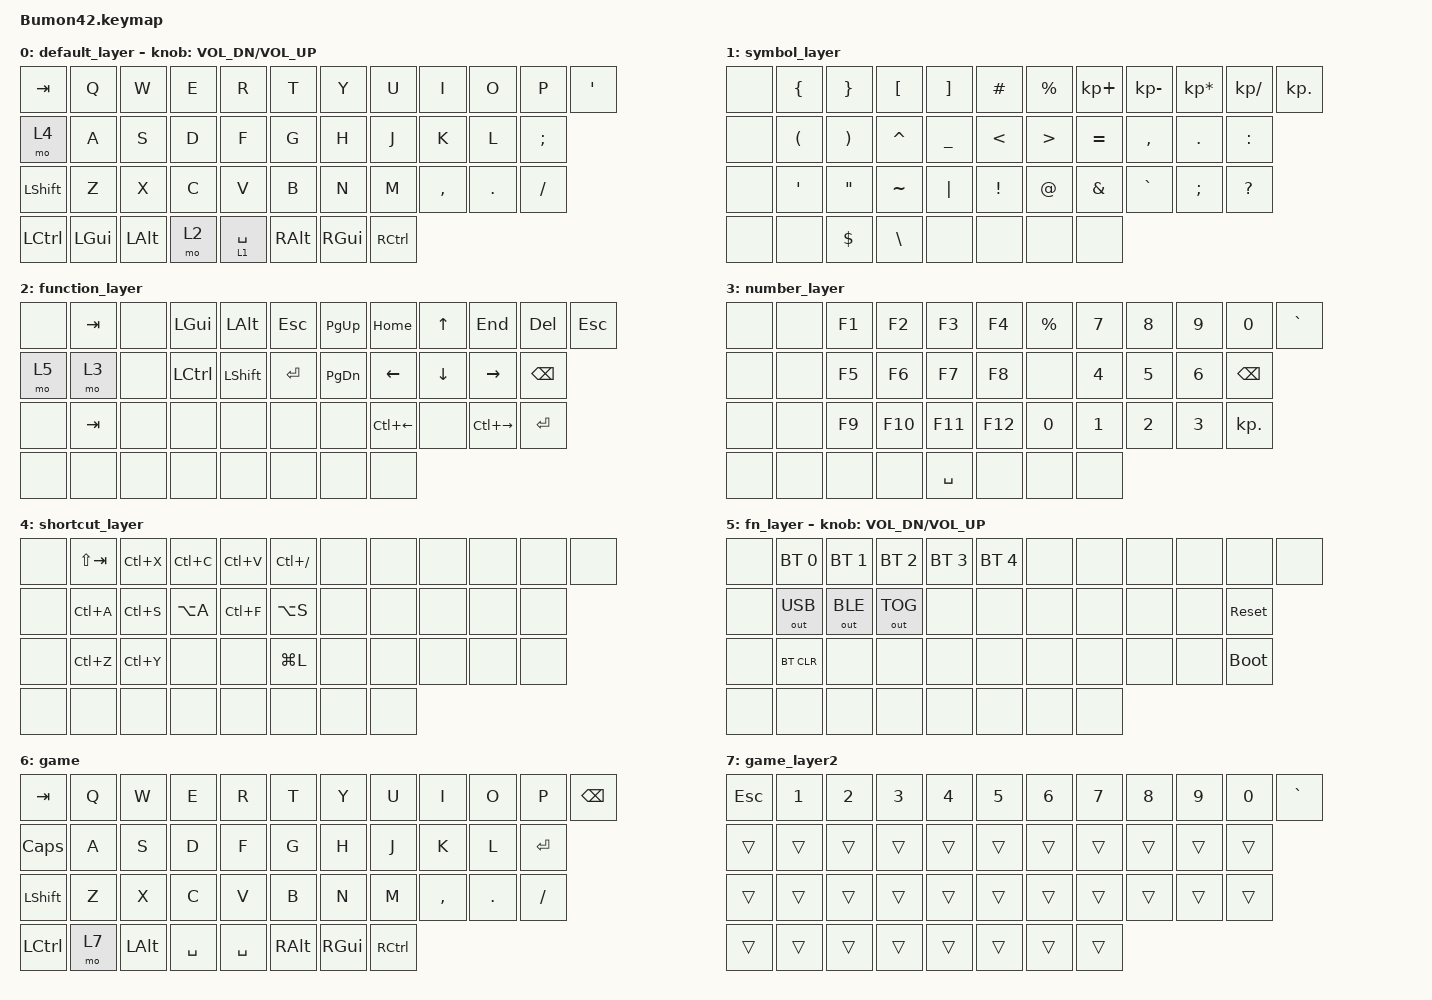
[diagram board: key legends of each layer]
#include <behaviors.dtsi>
#include <dt-bindings/zmk/bt.h>
#include <dt-bindings/zmk/keys.h>
#include <dt-bindings/zmk/outputs.h>

// changed lwr and rse

#define DEF 0
#define GAM 1
#define RSE 2
#define LWR 3
#define ADJ 4
#define FN  5

/ {
    behaviors {
        instant_layertap: instant_layertap {
            compatible = "zmk,behavior-hold-tap";
            label = "INSTANT_LAYERTAP";
            bindings = <&mo>, <&kp>;

            #binding-cells = <2>;
            tapping-term-ms = <5000>;
            hold-while-undecided;
        };
    };

    keymap {
        compatible = "zmk,keymap";

        default_layer {
            bindings = <
&kp TAB           &kp Q         &kp W         &kp E  &kp R                      &kp T          &kp Y          &kp U      &kp I      &kp O    &kp P      &kp SQT
&mo 4             &kp A         &kp S         &kp D  &kp F                      &kp G          &kp H          &kp J      &kp K      &kp L    &kp SEMI
&kp LSHFT         &kp Z         &kp X         &kp C  &kp V                      &kp B          &kp N          &kp M      &kp COMMA  &kp DOT  &kp SLASH
&kp LEFT_CONTROL  &kp LEFT_GUI  &kp LEFT_ALT  &mo 2  &instant_layertap 1 SPACE  &kp RIGHT_ALT  &kp RIGHT_GUI  &kp RCTRL
            >;

            sensor-bindings = <&inc_dec_kp C_VOL_DN C_VOL_UP>;
        };

        symbol_layer {
            bindings = <
&none  &kp LEFT_BRACE        &kp RIGHT_BRACE        &kp LEFT_BRACKET  &kp RIGHT_BRACKET  &kp HASH         &kp PERCENT       &kp KP_PLUS    &kp KP_MINUS  &kp KP_MULTIPLY  &kp KP_DIVIDE  &kp KP_DOT
&none  &kp LEFT_PARENTHESIS  &kp RIGHT_PARENTHESIS  &kp CARET         &kp UNDERSCORE     &kp LESS_THAN    &kp GREATER_THAN  &kp EQUAL      &kp COMMA     &kp PERIOD       &kp COLON
&none  &kp SINGLE_QUOTE      &kp DOUBLE_QUOTES      &kp TILDE         &kp PIPE           &kp EXCLAMATION  &kp AT            &kp AMPERSAND  &kp GRAVE     &kp SEMICOLON    &kp QUESTION
&none  &none                 &kp DOLLAR             &kp BACKSLASH     &none              &none            &none             &none
            >;
        };

        function_layer {
            bindings = <
&none  &kp TAB  &none  &kp LEFT_GUI      &kp LEFT_ALT    &kp ESC    &kp PAGE_UP    &kp HOME      &kp UP    &kp END        &kp DEL        &kp ESC
&mo 5  &mo 3    &none  &kp LEFT_CONTROL  &kp LEFT_SHIFT  &kp ENTER  &kp PAGE_DOWN  &kp LEFT      &kp DOWN  &kp RIGHT      &kp BACKSPACE
&none  &kp TAB  &none  &none             &none           &none      &none          &kp LC(LEFT)  &none     &kp LC(RIGHT)  &kp ENTER
&none  &none    &none  &none             &none           &none      &none          &none
            >;
        };

        number_layer {
            bindings = <
&none  &none  &kp F1  &kp F2   &kp F3     &kp F4   &kp PERCENT   &kp NUMBER_7  &kp NUMBER_8  &kp NUMBER_9  &kp NUMBER_0   &kp GRAVE
&none  &none  &kp F5  &kp F6   &kp F7     &kp F8   &none         &kp NUMBER_4  &kp NUMBER_5  &kp NUMBER_6  &kp BACKSPACE
&none  &none  &kp F9  &kp F10  &kp F11    &kp F12  &kp NUMBER_0  &kp NUMBER_1  &kp NUMBER_2  &kp NUMBER_3  &kp KP_DOT
&none  &none  &none   &none    &kp SPACE  &none    &none         &none
            >;
        };

        shortcut_layer {
            bindings = <
&none  &kp LS(TAB)  &kp LC(X)  &kp LC(C)  &kp LC(V)  &kp LC(SLASH)  &none  &none  &none  &none  &none  &none
&none  &kp LC(A)    &kp LC(S)  &kp LA(A)  &kp LC(F)  &kp LA(S)      &none  &none  &none  &none  &none
&none  &kp LC(Z)    &kp LC(Y)  &none      &none      &kp LG(L)      &none  &none  &none  &none  &none
&none  &none        &none      &none      &none      &none          &none  &none
            >;
        };

        fn_layer {
            bindings = <
&none  &bt BT_SEL 0  &bt BT_SEL 1  &bt BT_SEL 2  &bt BT_SEL 3  &bt BT_SEL 4  &none  &none  &none  &none  &none        &none
&none  &out OUT_USB  &out OUT_BLE  &out OUT_TOG  &none         &none         &none  &none  &none  &none  &sys_reset
&none  &bt BT_CLR    &none         &none         &none         &none         &none  &none  &none  &none  &bootloader
&none  &none         &none         &none         &none         &none         &none  &none
            >;

            sensor-bindings = <&inc_dec_kp C_VOL_DN C_VOL_UP>;
        };

        game {
            bindings = <
&kp TAB       &kp Q  &kp W         &kp E      &kp R      &kp T     &kp Y          &kp U      &kp I      &kp O    &kp P      &kp BSPC
&kp CAPSLOCK  &kp A  &kp S         &kp D      &kp F      &kp G     &kp H          &kp J      &kp K      &kp L    &kp ENTER
&kp LSHFT     &kp Z  &kp X         &kp C      &kp V      &kp B     &kp N          &kp M      &kp COMMA  &kp DOT  &kp FSLH
&kp LCTRL     &mo 7  &kp LEFT_ALT  &kp SPACE  &kp SPACE  &kp RALT  &kp RIGHT_GUI  &kp RCTRL
            >;
        };

        game_layer2 {
            bindings = <
&kp ESCAPE  &kp NUMBER_1  &kp NUMBER_2  &kp NUMBER_3  &kp NUMBER_4  &kp NUMBER_5  &kp NUMBER_6  &kp NUMBER_7  &kp NUMBER_8  &kp NUMBER_9  &kp NUMBER_0  &kp GRAVE
&trans      &trans        &trans        &trans        &trans        &trans        &trans        &trans        &trans        &trans        &trans
&trans      &trans        &trans        &trans        &trans        &trans        &trans        &trans        &trans        &trans        &trans
&trans      &trans        &trans        &trans        &trans        &trans        &trans        &trans
            >;
        };
    };
};
